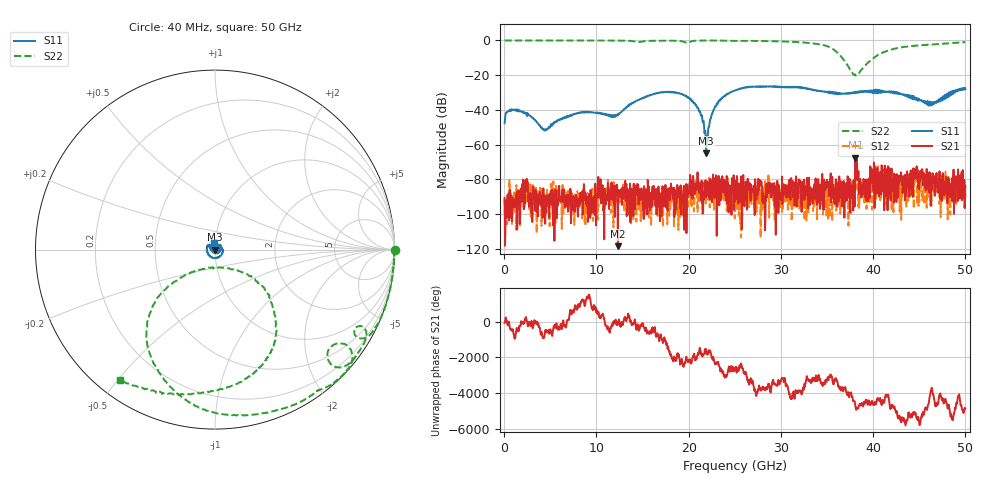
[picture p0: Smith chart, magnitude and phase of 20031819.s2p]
! 10/19/2020 15:51:42
! D:\MS4647AVNA\240F185F 200318XX\20031819.S2P
! CHANNEL.1
! TR.MEASUREMENT
! CORRECTED.DATA
# GHZ S RI R 50.0
! FREQ.GHZ  S11RE  S11IM  S21RE  S21IM  S12RE  S12IM  S22RE  S22IM
!; PortSelection: Port_12
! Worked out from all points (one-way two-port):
!   1250 points, 40 MHz to 50 GHz, reference 50 ohm
!   highest |S21| = -67.62 dB at 38.08 GHz (marker M1); lowest = -118.6 dB at 12.32 GHz (marker M2)
!   lowest |S11| = -65.2 dB at 21.88 GHz (marker M3), VSWR 1.00, Z = 50 - j0.0536 ohm
!   |S11| at or under -10 dB: start of sweep to end of sweep
!   |S22| runs from -20.2 to 0.0 dB; largest |S21 - S12| = 0.00055
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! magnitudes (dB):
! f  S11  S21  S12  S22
! 40 MHz  -47.8  -90.8  -91.3  0.0
! 440 MHz  -40.9  -92.3  -96.9  0.0
! 1.6 GHz  -40.4  -89.9  -92.2  0.0
! 4.52 GHz  -51.8  -98.9  -88.9  0.0
! 8.4 GHz  -41.3  -87.4  -90.8  0.0
! 12.32 GHz  -42.4  -118.6  -87.5  -0.1
! 16.72 GHz  -30.1  -84.2  -96.2  -0.2
! 18.72 GHz  -30.1  -89.9  -100.2  -0.2
! 20.24 GHz  -33.7  -84.8  -94.1  -0.6
! 21.24 GHz  -41.0  -83.3  -81.7  0.0
! 21.88 GHz  -65.2  -90.3  -91.2  0.0
! 23.04 GHz  -36.4  -112.7  -79.4  0.0
! 25.04 GHz  -28.8  -93.0  -90.7  -0.2
! 33.36 GHz  -28.2  -91.1  -87.7  -1.6
! 35.76 GHz  -30.1  -93.5  -83.4  -5.3
! 37.8 GHz  -30.3  -85.2  -83.3  -19.2
! 38.08 GHz  -29.9  -67.6  -75.8  -19.9
! 38.68 GHz  -29.3  -87.6  -83.4  -17.1
! 40 GHz  -28.8  -76.3  -86.7  -10.3
! 41.68 GHz  -29.9  -81.1  -81.3  -5.7
! 46.2 GHz  -37.6  -87.2  -83.6  -2.4
! 50 GHz  -28.0  -83.9  -90.7  -0.9
